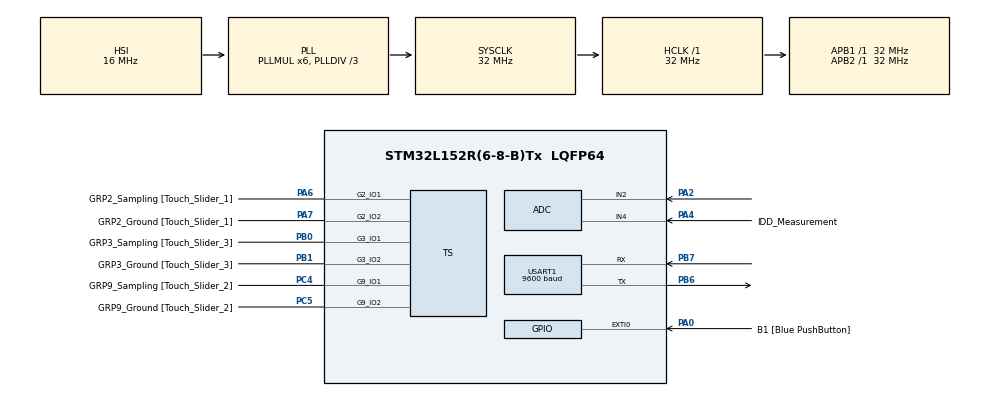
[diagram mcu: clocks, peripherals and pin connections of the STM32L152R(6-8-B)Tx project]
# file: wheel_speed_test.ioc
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ADC.Channel-0\#ChannelRegularConversion=ADC_CHANNEL_4
ADC.Channel-IN4=ADC_CHANNEL_4
ADC.ExternalTrigConv=ADC_EXTERNALTRIGCONV_T2_CC3
ADC.ExternalTrigConvEdge=ADC_EXTERNALTRIGCONVEDGE_RISING
ADC.Rank-0\#ChannelRegularConversion=1
ADC.SamplingTime-0\#ChannelRegularConversion=ADC_SAMPLETIME_4CYCLES
Mcu.Family=STM32L1
Mcu.Name=STM32L152R(6-8-B)Tx
Mcu.Package=LQFP64
NVIC.PriorityGroup=NVIC_PRIORITYGROUP_0
NVIC.USART1_IRQn=true\:0\:0\:false\:false\:true\:true\:true\:true
PA0-WKUP1.GPIO_Label=B1 [Blue PushButton]
PA0-WKUP1.GPIO_ModeDefaultEXTI=GPIO_MODE_EVT_RISING
PA0-WKUP1.GPIO_PuPd=GPIO_NOPULL
PA0-WKUP1.Signal=GPXTI0
PA1.GPIO_Label=SEG0 [GH08172T_SEG0]
PA1.GPIO_Mode=GPIO_MODE_AF_PP
PA1.GPIO_PuPd=GPIO_NOPULL
PA1.GPIO_Speed=GPIO_SPEED_FREQ_LOW
PA1.Signal=LCD_SEG0
PA10.GPIO_Label=COM2 [GH08172T_COM2]
PA10.GPIO_Mode=GPIO_MODE_AF_PP
PA10.GPIO_PuPd=GPIO_NOPULL
PA10.GPIO_Speed=GPIO_SPEED_FREQ_LOW
PA10.Signal=LCD_COM2
PA13.GPIO_Label=SWDIO
PA13.Mode=Serial_Wire
PA13.Signal=SYS_JTMS-SWDIO
PA14.GPIO_Label=SWCLK
PA14.Mode=Serial_Wire
PA14.Signal=SYS_JTCK-SWCLK
PA15.GPIO_Label=SEG12 [GH08172T_SEG12]
PA15.GPIO_Mode=GPIO_MODE_AF_PP
PA15.GPIO_PuPd=GPIO_NOPULL
PA15.GPIO_Speed=GPIO_SPEED_FREQ_LOW
PA15.Signal=LCD_SEG17
PA2.Mode=IN2
PA2.Signal=ADC_IN2
PA3.GPIO_Label=SEG2 [GH08172T_SEG2]
PA3.GPIO_Mode=GPIO_MODE_AF_PP
PA3.GPIO_PuPd=GPIO_NOPULL
PA3.GPIO_Speed=GPIO_SPEED_FREQ_LOW
PA3.Signal=LCD_SEG2
PA4.GPIO_Label=IDD_Measurement
PA4.GPIO_Mode=GPIO_MODE_ANALOG
PA4.GPIO_PuPd=GPIO_NOPULL
PA4.Mode=IN4
PA4.Signal=ADC_IN4
PA6.GPIO_Label=GRP2_Sampling [Touch_Slider_1]
PA6.Mode=G2_IO1-Sampling
PA6.Signal=TS_G2_IO1
PA7.GPIO_Label=GRP2_Ground [Touch_Slider_1]
PA7.Mode=G2_IO2-Channel
PA7.Signal=TS_G2_IO2
PA8.GPIO_Label=COM0 [GH08172T_COM0]
PA8.GPIO_Mode=GPIO_MODE_AF_PP
PA8.GPIO_PuPd=GPIO_NOPULL
PA8.GPIO_Speed=GPIO_SPEED_FREQ_LOW
PA8.Signal=LCD_COM0
PA9.GPIO_Label=COM1 [GH08172T_COM1]
PA9.GPIO_Mode=GPIO_MODE_AF_PP
PA9.GPIO_PuPd=GPIO_NOPULL
PA9.GPIO_Speed=GPIO_SPEED_FREQ_LOW
PA9.Signal=LCD_COM1
PB0.GPIO_Label=GRP3_Sampling [Touch_Slider_3]
PB0.Mode=G3_IO1-Sampling
PB0.Signal=TS_G3_IO1
PB1.GPIO_Label=GRP3_Ground [Touch_Slider_3]
PB1.Mode=G3_IO2-Channel
PB1.Signal=TS_G3_IO2
PB10.GPIO_Label=SEG6 [GH08172T_SEG6]
PB10.GPIO_Mode=GPIO_MODE_AF_PP
PB10.GPIO_PuPd=GPIO_NOPULL
PB10.GPIO_Speed=GPIO_SPEED_FREQ_LOW
PB10.Signal=LCD_SEG10
PB11.GPIO_Label=SEG7 [GH08172T_SEG7]
PB11.GPIO_Mode=GPIO_MODE_AF_PP
PB11.GPIO_PuPd=GPIO_NOPULL
PB11.GPIO_Speed=GPIO_SPEED_FREQ_LOW
PB11.Signal=LCD_SEG11
PB12.GPIO_Label=SEG8 [GH08172T_SEG8]
PB12.GPIO_Mode=GPIO_MODE_AF_PP
PB12.GPIO_PuPd=GPIO_NOPULL
PB12.GPIO_Speed=GPIO_SPEED_FREQ_LOW
PB12.Signal=LCD_SEG12
PB13.GPIO_Label=SEG9 [GH08172T_SEG9]
PB13.GPIO_Mode=GPIO_MODE_AF_PP
PB13.GPIO_PuPd=GPIO_NOPULL
PB13.GPIO_Speed=GPIO_SPEED_FREQ_LOW
PB13.Signal=LCD_SEG13
PB14.GPIO_Label=SEG10 [GH08172T_SEG10]
PB14.GPIO_Mode=GPIO_MODE_AF_PP
PB14.GPIO_PuPd=GPIO_NOPULL
PB14.GPIO_Speed=GPIO_SPEED_FREQ_LOW
PB14.Signal=LCD_SEG14
PB15.GPIO_Label=SEG11 [GH08172T_SEG11]
PB15.GPIO_Mode=GPIO_MODE_AF_PP
PB15.GPIO_PuPd=GPIO_NOPULL
PB15.GPIO_Speed=GPIO_SPEED_FREQ_LOW
PB15.Signal=LCD_SEG15
PB3.GPIO_Label=SEG3 [GH08172T_SEG3]
PB3.GPIO_Mode=GPIO_MODE_AF_PP
PB3.GPIO_PuPd=GPIO_NOPULL
PB3.GPIO_Speed=GPIO_SPEED_FREQ_LOW
PB3.Signal=LCD_SEG7
PB4.GPIO_Label=SEG4 [GH08172T_SEG4]
PB4.GPIO_Mode=GPIO_MODE_AF_PP
PB4.GPIO_PuPd=GPIO_NOPULL
PB4.GPIO_Speed=GPIO_SPEED_FREQ_LOW
PB4.Signal=LCD_SEG8
PB5.GPIO_Label=SEG5 [GH08172T_SEG5]
PB5.GPIO_Mode=GPIO_MODE_AF_PP
PB5.GPIO_PuPd=GPIO_NOPULL
PB5.GPIO_Speed=GPIO_SPEED_FREQ_LOW
PB5.Signal=LCD_SEG9
PB6.Mode=Asynchronous
PB6.Signal=USART1_TX
PB7.Mode=Asynchronous
PB7.Signal=USART1_RX
PB8.GPIO_Label=SEG13 [GH08172T_SEG13]
PB8.GPIO_Mode=GPIO_MODE_AF_PP
PB8.GPIO_PuPd=GPIO_NOPULL
PB8.GPIO_Speed=GPIO_SPEED_FREQ_LOW
PB8.Signal=LCD_SEG16
PB9.GPIO_Label=COM3 [GH08172T_COM3]
PB9.GPIO_Mode=GPIO_MODE_AF_PP
PB9.GPIO_PuPd=GPIO_NOPULL
PB9.GPIO_Speed=GPIO_SPEED_FREQ_LOW
PB9.Signal=LCD_COM3
PC0.GPIO_Label=SEG14 [GH08172T_SEG14]
PC0.GPIO_Mode=GPIO_MODE_AF_PP
PC0.GPIO_PuPd=GPIO_NOPULL
PC0.GPIO_Speed=GPIO_SPEED_FREQ_LOW
PC0.Signal=LCD_SEG18
PC1.GPIO_Label=SEG15 [GH08172T_SEG15]
PC1.GPIO_Mode=GPIO_MODE_AF_PP
PC1.GPIO_PuPd=GPIO_NOPULL
PC1.GPIO_Speed=GPIO_SPEED_FREQ_LOW
PC1.Signal=LCD_SEG19
PC10.GPIO_Label=SEG22 [GH08172T_SEG22]
PC10.GPIO_Mode=GPIO_MODE_AF_PP
PC10.GPIO_PuPd=GPIO_NOPULL
PC10.GPIO_Speed=GPIO_SPEED_FREQ_LOW
PC10.Signal=LCD_SEG28
PC11.GPIO_Label=SEG23 [GH08172T_SEG23]
PC11.GPIO_Mode=GPIO_MODE_AF_PP
PC11.GPIO_PuPd=GPIO_NOPULL
PC11.GPIO_Speed=GPIO_SPEED_FREQ_LOW
PC11.Signal=LCD_SEG29
PC14-OSC32_IN.GPIO_Label=PC14-OSC32_IN
PC14-OSC32_IN.Mode=LSE-External-Oscillator
PC14-OSC32_IN.Signal=RCC_OSC32_IN
PC15-OSC32_OUT.GPIO_Label=PC15-OSC32_OUT
PC15-OSC32_OUT.Mode=LSE-External-Oscillator
PC15-OSC32_OUT.Signal=RCC_OSC32_OUT
PC2.GPIO_Label=SEG16 [GH08172T_SEG16]
PC2.GPIO_Mode=GPIO_MODE_AF_PP
PC2.GPIO_PuPd=GPIO_NOPULL
PC2.GPIO_Speed=GPIO_SPEED_FREQ_LOW
PC2.Signal=LCD_SEG20
PC3.GPIO_Label=SEG17 [GH08172T_SEG17]
PC3.GPIO_Mode=GPIO_MODE_AF_PP
PC3.GPIO_PuPd=GPIO_NOPULL
PC3.GPIO_Speed=GPIO_SPEED_FREQ_LOW
PC3.Signal=LCD_SEG21
PC4.GPIO_Label=GRP9_Sampling [Touch_Slider_2]
PC4.Mode=G9_IO1-Sampling
PC4.Signal=TS_G9_IO1
PC5.GPIO_Label=GRP9_Ground [Touch_Slider_2]
PC5.Mode=G9_IO2-Channel
PC5.Signal=TS_G9_IO2
PC6.GPIO_Label=SEG18 [GH08172T_SEG18]
PC6.GPIO_Mode=GPIO_MODE_AF_PP
PC6.GPIO_PuPd=GPIO_NOPULL
PC6.GPIO_Speed=GPIO_SPEED_FREQ_LOW
PC6.Signal=LCD_SEG24
PC7.GPIO_Label=SEG19 [GH08172T_SEG19]
PC7.GPIO_Mode=GPIO_MODE_AF_PP
PC7.GPIO_PuPd=GPIO_NOPULL
PC7.GPIO_Speed=GPIO_SPEED_FREQ_LOW
PC7.Signal=LCD_SEG25
PC8.GPIO_Label=SEG20 [GH08172T_SEG20]
PC8.GPIO_Mode=GPIO_MODE_AF_PP
PC8.GPIO_PuPd=GPIO_NOPULL
PC8.GPIO_Speed=GPIO_SPEED_FREQ_LOW
PC8.Signal=LCD_SEG26
PC9.GPIO_Label=SEG21 [GH08172T_SEG21]
PC9.GPIO_Mode=GPIO_MODE_AF_PP
PC9.GPIO_PuPd=GPIO_NOPULL
PC9.GPIO_Speed=GPIO_SPEED_FREQ_LOW
PC9.Signal=LCD_SEG27
ProjectManager.HeapSize=0x200
ProjectManager.StackSize=0x400
ProjectManager.TargetToolchain=STM32CubeIDE
RCC.48MHZClocksFreq_Value=48000000
RCC.AHBFreq_Value=32000000
RCC.APB1Freq_Value=32000000
RCC.APB1TimFreq_Value=32000000
RCC.APB2Freq_Value=32000000
RCC.APB2TimFreq_Value=32000000
RCC.HCLKFreq_Value=32000000
RCC.HSE_VALUE=8000000
RCC.HSI_VALUE=16000000
RCC.MSI_VALUE=2097000
RCC.PLLDIV=RCC_PLL_DIV3
RCC.PLLMUL=RCC_PLL_MUL6
RCC.RTCClockSelectionVirtual=RCC_RTCCLKSOURCE_LSE
RCC.SYSCLKFreq_VALUE=32000000
RCC.SYSCLKSource=RCC_SYSCLKSOURCE_PLLCLK
RCC.USBOutput=48000000
RCC.VCOOutputFreq_Value=96000000
USART1.BaudRate=9600
USART1.VirtualMode=VM_ASYNC
VP_TIM2_VS_ClockSourceINT.Mode=Internal
VP_TIM3_VS_ClockSourceINT.Mode=Internal
VP_TIM4_VS_ClockSourceINT.Mode=Internal
board=STM32L-DISCOVERY

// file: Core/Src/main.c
/* USER CODE BEGIN Header */
/**
 ******************************************************************************
 * @file           : main.c
 * @brief          : Main program body
 ******************************************************************************
 * @attention
 *
 * Copyright (c) 2025 STMicroelectronics.
 * All rights reserved.
 *
 * This software is licensed under terms that can be found in the LICENSE file
 * in the root directory of this software component.
 * If no LICENSE file comes with this software, it is provided AS-IS.
 *
 ******************************************************************************
 */
/* USER CODE END Header */
#include "main.h"

/* USER CODE BEGIN Includes */
#include <stdbool.h>
#include <stdio.h>
#include <string.h>
#include <ctype.h>
#include <stdint.h>
#include <stdlib.h>
/* USER CODE END Includes */

ADC_HandleTypeDef hadc;

TIM_HandleTypeDef htim2;
TIM_HandleTypeDef htim3;
TIM_HandleTypeDef htim4;

UART_HandleTypeDef huart1;

/* USER CODE BEGIN PV */
unsigned short MAX_DC;

unsigned short INVERTED_MAX_DC;
unsigned short FIRST_HALVED;
unsigned short SECOND_HALVED;
unsigned short THIRD_HALVED;
unsigned short STOPPED_STATE;

unsigned short DC_RIGHT;
unsigned short DC_LEFT;

unsigned short RELATIVE_INIT_U1;
unsigned short PULSE_TIME_U1;
unsigned short DISTANCE_U1;

unsigned short RELATIVE_INIT_U2;
unsigned short PULSE_TIME_U2;
unsigned short DISTANCE_U2;
unsigned short COUNT;

bool CRITICAL_CLOSE;
bool CLOSE;
bool MEDIUM;
bool RELATIVELY_FAR;

enum direction {
	FORWARD, BACKWARDS, STOPPED
};
enum turn_state {
	CLEAR,
	FIRST_OBSTACLE_BACKWARDS,
	FIRST_OBSTACLE_FORWARD,
	SECOND_OBSTACLE_BACKWARDS,
	SECOND_OBSTACLE_FORWARD,
	DOOMED
};
enum turn_state TURN_POSITION = CLEAR;
enum direction MOVEMENT_DIRECTION = STOPPED;

uint8_t RxData[10];
uint8_t temp[2];
int indx = 0;

uint8_t CRITICAL_CLOSE_DISTANCE = 5;
uint8_t CLOSE_DISTANCE;
uint8_t MEDIUM_DISTANCE;
uint8_t RELATIVELY_FAR_DISTANCE;
bool ROTATING;
bool DISTANCE_MESSAGE_FLAG;
/* USER CODE END PV */

/* Private function prototypes --------b---------------------------------------*/
void SystemClock_Config(void);
static void MX_GPIO_Init(void);
static void MX_ADC_Init(void);
static void MX_TS_Init(void);
static void MX_TIM2_Init(void);
static void MX_TIM3_Init(void);
static void MX_TIM4_Init(void);
static void MX_USART1_UART_Init(void);

/* USER CODE BEGIN 0 */

void setup_log_message(char *text) {
	char message[40];
	sprintf(message, "[%lu] %s setup OK \r\n", HAL_GetTick(), text);
	HAL_UART_Transmit(&huart1, message, strlen(message), 10000);
}

void general_log_message(char *text) {
	char message[100];
	sprintf(message, "[%lu] %s \r\n", HAL_GetTick(), text);
	HAL_UART_Transmit(&huart1, message, strlen(message), 10000);
}

void speed_log_message(void) {
	uint32_t wheel1_speed = TIM2->CCR3;
	uint32_t wheel2_speed = TIM2->CCR4;

	char message[70]; // Larger buffer for the more complex message

	sprintf(message,
			"[%lu] Speed change. DC changed to (%lu) in wheel 1 and (%lu) in wheel 2\r\n",
			HAL_GetTick(), wheel1_speed, wheel2_speed);

	HAL_UART_Transmit(&huart1, message, strlen(message), 10000);
}

void RESET_DISTANCES() {
	DISTANCE_U1 = 0;
	DISTANCE_U2 = 0;
}

void SET_SPEED(unsigned short dc_left, unsigned short dc_right) {
	if (MOVEMENT_DIRECTION != STOPPED) {
		DC_RIGHT = dc_right;
		DC_LEFT = dc_left;
		TIM2->CCR3 = DC_LEFT;
		TIM2->CCR4 = DC_RIGHT;
	}
}

void TURN_BACKWARDS(unsigned short dc_left, unsigned short dc_right) {
	MOVEMENT_DIRECTION = BACKWARDS;

	FIRST_HALVED = MAX_DC / 2;
	SECOND_HALVED = (MAX_DC * 3) / 4;
	THIRD_HALVED = (MAX_DC * 4) / 5;
	STOPPED_STATE = MAX_DC;

	GPIOB->BSRR = (1 << 13);
	GPIOB->BSRR = (1 << 12);
	SET_SPEED(dc_left, dc_right);

}

void STOP(bool change_state) {
	if (MOVEMENT_DIRECTION == FORWARD) {
		SET_SPEED(0, 0);
	} else if (MOVEMENT_DIRECTION == BACKWARDS) {
		SET_SPEED(100, 100);
	}
	if (change_state) {
		MOVEMENT_DIRECTION = STOPPED;
		general_log_message("Stopping...");
	}
}

void TURN_FORWARD(unsigned short dc_left, unsigned short dc_right) {
	MOVEMENT_DIRECTION = FORWARD;

	FIRST_HALVED = MAX_DC / 2;
	SECOND_HALVED = MAX_DC / 4;
	THIRD_HALVED = MAX_DC / 5;
	STOPPED_STATE = 0;

	GPIOB->BSRR = (1 << 13) << 16;
	GPIOB->BSRR = (1 << 12) << 16;
	SET_SPEED(dc_left, dc_right);

}

void TURN_DIRECTION() {
	if (MOVEMENT_DIRECTION == FORWARD) {
		TURN_BACKWARDS(INVERTED_MAX_DC, INVERTED_MAX_DC);
		general_log_message("Turn backwards");

	} else if (MOVEMENT_DIRECTION == BACKWARDS) {
		STOP(true);

	} else if (MOVEMENT_DIRECTION == STOPPED) {
		TURN_FORWARD(MAX_DC, MAX_DC);
		general_log_message("Turn forwards");

	}
}
void SETUP_WHEELS() {

	GPIOB->MODER |= (1 << (11 * 2 + 1));
	GPIOB->MODER &= ~(1 << 11 * 2);
	GPIOB->AFR[1] &= ~(0xF << 12);
	GPIOB->AFR[1] |= (1 << 12);

	GPIOB->MODER |= (1 << (10 * 2 + 1));
	GPIOB->MODER &= ~(1 << (10 * 2));
	GPIOB->AFR[1] &= ~(0xF << 8);
	GPIOB->AFR[1] |= (1 << 8);

	GPIOB->MODER &= ~(1 << (13 * 2 + 1));
	GPIOB->MODER |= (1 << 13 * 2);

	GPIOB->MODER &= ~(1 << (12 * 2 + 1));
	GPIOB->MODER |= (1 << 12 * 2);

	setup_log_message("Wheels");

}
void TURN_90_RIGHT(bool backwards) {
	enum direction temp = MOVEMENT_DIRECTION;
	ROTATING = true;
	TIM4->DIER = 0x000A;

	STOP(true);
	general_log_message("Turning 90 degrees to the Right");
	COUNT = 0;
	while (COUNT != 5) {
	}

	if (backwards) {
		TURN_BACKWARDS(100, 0);
	} else {
		TURN_FORWARD(0, 100);
	}

	COUNT = 0;
	while (COUNT != 7) {
	}

	STOP(true);
	COUNT = 0;
	while (COUNT != 5) {
	}
	TIM4->DIER = 0x0008;
	ROTATING = false;
	if (temp == FORWARD) {
		TURN_FORWARD(MAX_DC, MAX_DC);
	} else if (temp == BACKWARDS) {
		TURN_BACKWARDS(INVERTED_MAX_DC, INVERTED_MAX_DC);
	}
	COUNT = 0;
}

void TURN_90_LEFT(bool backwards) {
	enum direction temp = MOVEMENT_DIRECTION;
	ROTATING = true;

	TIM4->DIER = 0x000A;
	STOP(true);
	general_log_message("Turning 90 degrees to the left");
	while (COUNT != 5) {
	}
	if (backwards) {

		TURN_BACKWARDS(0, 100);
	} else {

		TURN_FORWARD(100, 0);
	}
	COUNT = 0;
	while (COUNT != 7) {
	}
	STOP(true);
	COUNT = 0;
	while (COUNT != 5) {
	}
	TIM4->DIER = 0x0008;
	ROTATING = false;
	if (temp == FORWARD) {
		TURN_FORWARD(MAX_DC, MAX_DC);
	} else if (temp == BACKWARDS) {
		TURN_BACKWARDS(INVERTED_MAX_DC, INVERTED_MAX_DC);
	}

	COUNT = 0;
}
void SETUP_PWM() {

	TIM2->CR1 = 0x0080;
	TIM2->CR2 = 0x0000;
	TIM2->SMCR = 0x0000;
	TIM2->PSC = 32000;
	TIM2->CNT = 0;
	TIM2->ARR = 99;
	TIM2->DIER = 0x0000;
	TIM2->CCMR2 = 0x6868;
	TIM2->CCER = 0x1100;
	TIM2->EGR |= 0x0001;
	TIM2->CR1 |= 0x0001;
	TIM2->SR = 0;

	setup_log_message("PWM");

}

void CYCLE_TURN_POSITION() {
	switch (TURN_POSITION) {
	case CLEAR:
		TURN_POSITION = FIRST_OBSTACLE_BACKWARDS;
		break;
	case FIRST_OBSTACLE_BACKWARDS:
		TURN_POSITION = FIRST_OBSTACLE_FORWARD;
		break;
	case FIRST_OBSTACLE_FORWARD:
		TURN_POSITION = SECOND_OBSTACLE_BACKWARDS;
		break;
	case SECOND_OBSTACLE_BACKWARDS:
		TURN_POSITION = SECOND_OBSTACLE_FORWARD;
		break;
	case SECOND_OBSTACLE_FORWARD:
		TURN_POSITION = DOOMED;
		break;
	default:
		break;
	}
}

void BUZZ() {
	if (CRITICAL_CLOSE) {
		TIM4->CCMR2 = 0x0050;
	} else if (CLOSE && !ROTATING) {
		TIM4->CCMR2 = 0x0030;
		SET_SPEED(THIRD_HALVED, THIRD_HALVED);
	}

	else if (MEDIUM && !ROTATING) {
		TIM4->CCMR2 = 0x0030;
		SET_SPEED(SECOND_HALVED, SECOND_HALVED);
	}

	else if (RELATIVELY_FAR && !ROTATING) {
		TIM4->CCMR2 = 0x0040;

		SET_SPEED(FIRST_HALVED, FIRST_HALVED);
	}

	else {
		if (!ROTATING) {
			TIM4->CCMR2 = 0x0040;
			if (MOVEMENT_DIRECTION == FORWARD) {
				SET_SPEED(MAX_DC, MAX_DC);

			} else if (MOVEMENT_DIRECTION == BACKWARDS) {
				SET_SPEED(INVERTED_MAX_DC, INVERTED_MAX_DC);

			}
		}
	}
	TIM2->EGR |= 0x0001;
}

void MEASSURE() {

	if (((DISTANCE_U1 / 2) <= CRITICAL_CLOSE_DISTANCE && DISTANCE_U1 != 0)
			|| ((DISTANCE_U2 / 2) <= CRITICAL_CLOSE_DISTANCE && DISTANCE_U2 != 0)) {
		if (TURN_POSITION == CLEAR && MOVEMENT_DIRECTION != STOPPED) {
			TURN_POSITION = FIRST_OBSTACLE_BACKWARDS;
		}

		CRITICAL_CLOSE = true;
		CLOSE = false;
		MEDIUM = false;
		RELATIVELY_FAR = false;
	} else if (((DISTANCE_U2 / 2) > CRITICAL_CLOSE_DISTANCE
			&& (DISTANCE_U2 / 2) <= CLOSE_DISTANCE)
			|| ((DISTANCE_U1 / 2) > CRITICAL_CLOSE_DISTANCE
					&& (DISTANCE_U1 / 2) <= CLOSE_DISTANCE)) {
		TURN_POSITION = CLEAR;
		CRITICAL_CLOSE = false;
		CLOSE = true;
		MEDIUM = false;
		RELATIVELY_FAR = false;

	} else if (((DISTANCE_U2 / 2) > CLOSE_DISTANCE
			&& (DISTANCE_U2 / 2) <= MEDIUM_DISTANCE)
			|| ((DISTANCE_U1 / 2) > CLOSE_DISTANCE
					&& (DISTANCE_U1 / 2) <= MEDIUM_DISTANCE)) {
		TURN_POSITION = CLEAR;
		CRITICAL_CLOSE = false;
		CLOSE = false;
		MEDIUM = true;
		RELATIVELY_FAR = false;

	} else if (((DISTANCE_U2 / 2) > MEDIUM_DISTANCE
			&& (DISTANCE_U2 / 2) <= RELATIVELY_FAR_DISTANCE)
			|| ((DISTANCE_U1 / 2) > MEDIUM_DISTANCE
					&& (DISTANCE_U1 / 2) <= RELATIVELY_FAR_DISTANCE)) {
		TURN_POSITION = CLEAR;
		CRITICAL_CLOSE = false;
		CLOSE = false;
		MEDIUM = false;
		RELATIVELY_FAR = true;

	} else {
		TURN_POSITION = CLEAR;
		CRITICAL_CLOSE = false;
		CLOSE = false;
		MEDIUM = false;
		RELATIVELY_FAR = false;
	}

	if (((DISTANCE_U1 / 2) <= 5 && DISTANCE_U1 != 0)
			|| ((DISTANCE_U2 / 2) <= 5 && DISTANCE_U2 != 0)) {
		if (!DISTANCE_MESSAGE_FLAG) {
			char message[70];
			sprintf(message, "WARNING!! OBSTACLE AT A DISTANCE OF LESS THAN 5 cm \r\n");
			general_log_message(message);
			DISTANCE_MESSAGE_FLAG = true;
		}
	} else if (((DISTANCE_U2 / 2) > 27
			&& (DISTANCE_U2 / 2) <= 33)
			|| ((DISTANCE_U1 / 2) > 27
					&& (DISTANCE_U1 / 2) <= 33)) {
		if (!DISTANCE_MESSAGE_FLAG) {
			char message[70];
			sprintf(message, "BE CAREFUL, OBSTACLE IN APPROXIMATELY 30 cm\r\n");
			general_log_message(message);
			DISTANCE_MESSAGE_FLAG = true;
		}
	}
	else{
		DISTANCE_MESSAGE_FLAG=false;
	}

}

void START_COUNTER_3() {
	TIM3->SR = 0;
	TIM3->EGR |= (1 << 0);
	TIM3->CR1 |= 0x0001;
	NVIC->ISER[0] |= (1 << 29);

}

void START_COUNTER_2() {
	TIM4->SR = 0;
	TIM4->CR1 |= 0x0001;
	NVIC->ISER[0] |= (1 << 30);

}

void TIM3_IRQHandler(void) {

	if ((TIM3->SR & (1 << 2)) != 0) {
		if ((GPIOC->IDR & 0x80) != 0) {
			RELATIVE_INIT_U1 = TIM3->CCR2;
		} else {
			PULSE_TIME_U1 = TIM3->CCR2 - RELATIVE_INIT_U1;
			DISTANCE_U1 = 0.034 * PULSE_TIME_U1;
		}

		TIM3->SR &= ~(0x0004);
	}
	if ((TIM3->SR & (1 << 4)) != 0) {
		if ((GPIOC->IDR & 0x200) != 0) {
			RELATIVE_INIT_U2 = TIM3->CCR4;
		} else {
			PULSE_TIME_U2 = TIM3->CCR4 - RELATIVE_INIT_U2;
			DISTANCE_U2 = 0.034 * PULSE_TIME_U2;
		}
		TIM3->SR &= ~(0x0010);
	}
	if ((TIM3->SR & (1 << 1)) != 0) {
		GPIOC->BSRR = (1 << 6) << 16;
		GPIOC->BSRR = (1 << 8) << 16;

		TIM3->SR &= ~(0x0002);
	}
}

void TIM4_IRQHandler(void) {

	if ((TIM4->SR & TIM_SR_CC3IF) && (TIM4->DIER & TIM_DIER_CC3IE)) {
		BUZZ();

		GPIOC->BSRR = (1 << 6);
		GPIOC->BSRR = (1 << 8);

		START_COUNTER_3();
		TIM4->SR &= ~TIM_SR_CC3IF;
	}

	else if ((TIM4->SR & TIM_SR_CC1IF) && (TIM4->DIER & TIM_DIER_CC1IE)) {
		COUNT++;
		TIM4->SR &= ~TIM_SR_CC1IF;
	}

}

void INIT_TIM3() {
	TIM3->CR1 = 0x0000;
	TIM3->CR2 = 0x0000;
	TIM3->SMCR = 0x0000;
	TIM3->ARR = 0xFFFF;
	TIM3->PSC = 31;
	TIM3->CNT = 0;
	TIM3->CCR1 = 11;
	TIM3->CCR3 = 0xFFFF;
	TIM3->DIER = 0x0016;
	TIM3->CCMR1 = 0x0100;
	TIM3->CCMR2 = 0x0100;
	TIM3->CCER = 0xB0B0;

	setup_log_message("TIM3");

}

void INIT_TIM4() {

	TIM4->CR1 = 0x0080;
	TIM4->CR2 = 0x0000;
	TIM4->SMCR = 0x0000;
	TIM4->ARR = 1000;
	TIM4->PSC = 3199;
	TIM4->CNT = 0;
	TIM4->CCR3 = 1000;
	TIM4->CCR1 = 1000;
	TIM4->DIER = 0x0008;
	TIM4->CCMR2 = 0x0000;
	TIM4->CCMR1 = 0x0000;
	TIM4->CCER = 0x0100;

	setup_log_message("TIM4");

}

void INIT_3V_OUTPUT() {
	GPIOB->MODER |= (1 << (8 * 2 + 1));
	GPIOB->MODER &= ~(1 << (8 * 2));

	GPIOB->AFR[1] &= ~(0xF << (0));
	GPIOB->AFR[1] |= (2 << (0));

	setup_log_message("Buzzer output");

}

void INIT_TRIGG_ECHO() {
	GPIOC->MODER &= ~(1 << (2 * 6 + 1));
	GPIOC->MODER |= (1 << (2 * 6));
	GPIOC->MODER |= (1 << (2 * 7 + 1));
	GPIOC->MODER &= ~(1 << (2 * 7));
	GPIOC->AFR[0] &= ~(0xF << (7 * 4));
	GPIOC->AFR[0] |= (2 << (7 * 4));
	GPIOC->MODER &= ~(1 << (2 * 8 + 1));
	GPIOC->MODER |= (1 << (2 * 8));
	GPIOC->MODER |= (1 << (2 * 9 + 1));
	GPIOC->MODER &= ~(1 << (2 * 9));
	GPIOC->AFR[1] &= ~(0xF << (1 * 4));
	GPIOC->AFR[1] |= (2 << (1 * 4));

	setup_log_message("Ultrasonic GPIO");

}

void EXTI0_IRQHandler(void) {
	if (EXTI->PR != 0) {

		char message[70];
		sprintf(message, "[%lu] User button pressed - Direction: %d\r\n",
				HAL_GetTick(), MOVEMENT_DIRECTION);
		HAL_UART_Transmit(&huart1, message, strlen(message), 10000);

		TURN_DIRECTION();

		EXTI->PR = 0x01;
	}
}

void SETUP_USER_BUTTON() {

	GPIOA->MODER &= ~(1 << (0 * 2 + 1));
	GPIOA->MODER &= ~(1 << (0 * 2));

	EXTI->FTSR |= 0x01;
	EXTI->RTSR &= ~(0x01);
	SYSCFG->EXTICR[0] = 0;
	EXTI->IMR |= 0x01;
	NVIC->ISER[0] |= (1 << 6);

	setup_log_message("User Button");

}

void SETUP_ADC() {

	GPIOA->MODER |= 0x00000030;
	ADC1->CR2 &= ~(0x00000001);
	ADC1->CR1 = 0x00000000;
	ADC1->CR2 = 0x00000412;
	ADC1->SQR1 = 0x00000000;
	ADC1->SQR5 = 0x00000002;
	ADC1->CR2 |= 0x00000001;
	while ((ADC1->SR & 0x0040) == 0)
		ADC1->CR2 |= 0x40000000;

	setup_log_message("ADC");

}

void UPDATE_DC() {
	MAX_DC = (ADC1->DR) * 100 / 4096;
	INVERTED_MAX_DC = 100 - MAX_DC;

	if (MOVEMENT_DIRECTION == FORWARD) {
		TURN_FORWARD(MAX_DC, MAX_DC);
	} else if (MOVEMENT_DIRECTION == BACKWARDS) {
		TURN_BACKWARDS(INVERTED_MAX_DC, INVERTED_MAX_DC);
	}

}

void HAL_UART_RxCpltCallback(UART_HandleTypeDef *huart) {
// Process the command
//	TURN_DIRECTION();
	memcpy(RxData + indx, temp, 1);
	if (++indx >= 10)
		indx = 0;
// Reactivate reception for 4 characters
	HAL_UART_Receive_IT(huart, temp, 1);
}

void CHANGE_MIN_DISTANCE(uint8_t new_distance) {
	if (new_distance > 0 && new_distance <= 99) {
		CRITICAL_CLOSE_DISTANCE = new_distance;
	}

	char message[100];
	sprintf(message, "[%lu] Changing new minimun distance to: %d cm \r\n",
			HAL_GetTick(), new_distance);
	HAL_UART_Transmit(&huart1, message, strlen(message), 10000);
}

void CHANGE_MAX_DISTANCE(uint8_t new_distance) {
	if (new_distance > 0 && new_distance <= 99) {
		RELATIVELY_FAR_DISTANCE = new_distance;

		char message[100];
		sprintf(message, "[%lu] Changing new maximum distance to: %d cm \r\n",
				HAL_GetTick(), new_distance);
		HAL_UART_Transmit(&huart1, message, strlen(message), 10000);
	}
}

void EXECUTE_REMOTE_COMMAND() {
	bool isBackward = (MOVEMENT_DIRECTION == FORWARD);

	if (temp[0] == '\n') {

		if (strncmp((char*) RxData, "STOP", 4) == 0) {
			STOP(true);
		} else if (strncmp((char*) RxData, "CYCL", 4) == 0) {
			TURN_DIRECTION();
		} else if (strncmp((char*) RxData, "RIGH", 4) == 0
				&& MOVEMENT_DIRECTION == FORWARD) {
			TURN_90_RIGHT(isBackward);
		} else if (strncmp((char*) RxData, "RIGH", 4) == 0
				&& MOVEMENT_DIRECTION == BACKWARDS) {
			TURN_90_LEFT(isBackward);
		} else if (strncmp((char*) RxData, "LEFT", 4) == 0
				&& MOVEMENT_DIRECTION == FORWARD) {
			TURN_90_LEFT(isBackward);
		} else if (strncmp((char*) RxData, "LEFT", 4) == 0
				&& MOVEMENT_DIRECTION == BACKWARDS) {
			TURN_90_RIGHT(isBackward);
		} else if (strncmp((char*) RxData, "FORW", 4) == 0) {
			TURN_FORWARD(MAX_DC, MAX_DC);
			general_log_message("Going Forward");
		} else if (strncmp((char*) RxData, "BACK", 4) == 0) {
			TURN_BACKWARDS(INVERTED_MAX_DC, INVERTED_MAX_DC);
			general_log_message("Going Backwards");
		} else if (strncmp((char*) RxData, "MD", 2) == 0&& isdigit(RxData[2])
		&& isdigit(RxData[3])) {
			uint8_t new_distance = atoi((char*) &RxData[2]);
			CHANGE_MIN_DISTANCE(new_distance);
		}

		else if (strncmp((char*) RxData, "MA", 2) == 0&& isdigit(RxData[2])
		&& isdigit(RxData[3])) {
			uint8_t new_distance = atoi((char*) &RxData[2]);
			CHANGE_MAX_DISTANCE(new_distance);
		}

		memset(temp, 0, sizeof(temp));
		memset(RxData, 0, sizeof(RxData));
		indx = 0;
	}
}

void INIT_DISTANCES() {
	CLOSE_DISTANCE = CRITICAL_CLOSE + 5;
	MEDIUM_DISTANCE = CRITICAL_CLOSE + 15;
	RELATIVELY_FAR_DISTANCE = CRITICAL_CLOSE + 25;
}

//void receive_string() {
//    uint8_t received_byte;  // Extra byte for NULL terminator
//
//    if (HAL_UART_Receive(&huart1, &received_byte, 1, HAL_MAX_DELAY) == HAL_OK) {
//                HAL_UART_Transmit(&huart1, &received_byte, 1, 100); // Echo the received character
//            }  // Send only valid data
//}
/* USER CODE END 0 */

int main(void) {

	/* MCU Configuration--------------------------------------------------------*/

	/* Reset of all peripherals, Initializes the Flash interface and the Systick. */
	HAL_Init();

	/* Configure the system clock */
	SystemClock_Config();

	/* Initialize all configured peripherals */
	MX_GPIO_Init();
	MX_ADC_Init();
	MX_TS_Init();
	MX_TIM2_Init();
	MX_TIM3_Init();
	MX_TIM4_Init();
	MX_USART1_UART_Init();
	/* USER CODE BEGIN 2 */
	general_log_message("_________ BOARD INIT _________");

	SETUP_ADC();
	UPDATE_DC();
	INIT_DISTANCES();
	INIT_TRIGG_ECHO();
	INIT_3V_OUTPUT();
	INIT_TIM4();
	INIT_TIM3();
	START_COUNTER_2();
	SETUP_WHEELS();

	SETUP_PWM();
	SETUP_USER_BUTTON();
	HAL_UART_Receive_IT(&huart1, temp, 1);
	/* USER CODE END 2 */

	/* Infinite loop */
	/* USER CODE BEGIN WHILE */
	while (1) {
		EXECUTE_REMOTE_COMMAND();
		UPDATE_DC();
		if (CRITICAL_CLOSE) {
			bool isBackward = (MOVEMENT_DIRECTION == FORWARD);
			switch (TURN_POSITION) {
			case FIRST_OBSTACLE_BACKWARDS:
				TURN_90_LEFT(isBackward);
				CYCLE_TURN_POSITION();
				break;

			case FIRST_OBSTACLE_FORWARD:
				TURN_90_LEFT(!isBackward);
				CYCLE_TURN_POSITION();
				break;

			case SECOND_OBSTACLE_BACKWARDS:
				TURN_90_RIGHT(isBackward);
				CYCLE_TURN_POSITION();
				break;

			case SECOND_OBSTACLE_FORWARD:
				TURN_90_RIGHT(!isBackward);
				CYCLE_TURN_POSITION();
				break;

			case DOOMED:
				STOP(true);
				break;

			case CLEAR:
				break;

			default:
				break;
			}
		}

		MEASSURE();

		/* USER CODE END WHILE */

	}
}

void SystemClock_Config(void) {
	RCC_OscInitTypeDef RCC_OscInitStruct = { 0 };
	RCC_ClkInitTypeDef RCC_ClkInitStruct = { 0 };

	/** Configure the main internal regulator output voltage
	 */
	__HAL_PWR_VOLTAGESCALING_CONFIG(PWR_REGULATOR_VOLTAGE_SCALE1);

	/** Initializes the RCC Oscillators according to the specified parameters
	 * in the RCC_OscInitTypeDef structure.
	 */
	RCC_OscInitStruct.OscillatorType = RCC_OSCILLATORTYPE_HSI;
	RCC_OscInitStruct.HSIState = RCC_HSI_ON;
	RCC_OscInitStruct.HSICalibrationValue = RCC_HSICALIBRATION_DEFAULT;
	RCC_OscInitStruct.PLL.PLLState = RCC_PLL_ON;
	RCC_OscInitStruct.PLL.PLLSource = RCC_PLLSOURCE_HSI;
	RCC_OscInitStruct.PLL.PLLMUL = RCC_PLL_MUL6;
	RCC_OscInitStruct.PLL.PLLDIV = RCC_PLL_DIV3;
	if (HAL_RCC_OscConfig(&RCC_OscInitStruct) != HAL_OK) {
		Error_Handler();
	}

	/** Initializes the CPU, AHB and APB buses clocks
	 */
	RCC_ClkInitStruct.ClockType = RCC_CLOCKTYPE_HCLK | RCC_CLOCKTYPE_SYSCLK
			| RCC_CLOCKTYPE_PCLK1 | RCC_CLOCKTYPE_PCLK2;
	RCC_ClkInitStruct.SYSCLKSource = RCC_SYSCLKSOURCE_PLLCLK;
	RCC_ClkInitStruct.AHBCLKDivider = RCC_SYSCLK_DIV1;
	RCC_ClkInitStruct.APB1CLKDivider = RCC_HCLK_DIV1;
	RCC_ClkInitStruct.APB2CLKDivider = RCC_HCLK_DIV1;

	if (HAL_RCC_ClockConfig(&RCC_ClkInitStruct, FLASH_LATENCY_1) != HAL_OK) {
		Error_Handler();
	}
}

static void MX_ADC_Init(void) {

	ADC_ChannelConfTypeDef sConfig = { 0 };

	/** Configure the global features of the ADC (Clock, Resolution, Data Alignment and number of conversion)
	 */
	hadc.Instance = ADC1;
	hadc.Init.ClockPrescaler = ADC_CLOCK_ASYNC_DIV1;
	hadc.Init.Resolution = ADC_RESOLUTION_12B;
	hadc.Init.DataAlign = ADC_DATAALIGN_RIGHT;
	hadc.Init.ScanConvMode = ADC_SCAN_DISABLE;
	hadc.Init.EOCSelection = ADC_EOC_SEQ_CONV;
	hadc.Init.LowPowerAutoWait = ADC_AUTOWAIT_DISABLE;
	hadc.Init.LowPowerAutoPowerOff = ADC_AUTOPOWEROFF_DISABLE;
	hadc.Init.ChannelsBank = ADC_CHANNELS_BANK_A;
	hadc.Init.ContinuousConvMode = DISABLE;
	hadc.Init.NbrOfConversion = 1;
	hadc.Init.DiscontinuousConvMode = DISABLE;
	hadc.Init.ExternalTrigConv = ADC_EXTERNALTRIGCONV_T2_CC3;
	hadc.Init.ExternalTrigConvEdge = ADC_EXTERNALTRIGCONVEDGE_RISING;
	hadc.Init.DMAContinuousRequests = DISABLE;
	if (HAL_ADC_Init(&hadc) != HAL_OK) {
		Error_Handler();
	}

	/** Configure for the selected ADC regular channel its corresponding rank in the sequencer and its sample time.
	 */
	sConfig.Channel = ADC_CHANNEL_4;
	sConfig.Rank = ADC_REGULAR_RANK_1;
	sConfig.SamplingTime = ADC_SAMPLETIME_4CYCLES;
	if (HAL_ADC_ConfigChannel(&hadc, &sConfig) != HAL_OK) {
		Error_Handler();
	}

}

static void MX_TIM2_Init(void) {

	TIM_ClockConfigTypeDef sClockSourceConfig = { 0 };
	TIM_MasterConfigTypeDef sMasterConfig = { 0 };

	htim2.Instance = TIM2;
	htim2.Init.Prescaler = 0;
	htim2.Init.CounterMode = TIM_COUNTERMODE_UP;
	htim2.Init.Period = 65535;
	htim2.Init.ClockDivision = TIM_CLOCKDIVISION_DIV1;
	htim2.Init.AutoReloadPreload = TIM_AUTORELOAD_PRELOAD_DISABLE;
	if (HAL_TIM_Base_Init(&htim2) != HAL_OK) {
		Error_Handler();
	}
	sClockSourceConfig.ClockSource = TIM_CLOCKSOURCE_INTERNAL;
	if (HAL_TIM_ConfigClockSource(&htim2, &sClockSourceConfig) != HAL_OK) {
		Error_Handler();
	}
	sMasterConfig.MasterOutputTrigger = TIM_TRGO_RESET;
	sMasterConfig.MasterSlaveMode = TIM_MASTERSLAVEMODE_DISABLE;
	if (HAL_TIMEx_MasterConfigSynchronization(&htim2, &sMasterConfig)
			!= HAL_OK) {
		Error_Handler();
	}

}

static void MX_TIM3_Init(void) {

	TIM_ClockConfigTypeDef sClockSourceConfig = { 0 };
	TIM_MasterConfigTypeDef sMasterConfig = { 0 };

	htim3.Instance = TIM3;
	htim3.Init.Prescaler = 0;
	htim3.Init.CounterMode = TIM_COUNTERMODE_UP;
	htim3.Init.Period = 65535;
	htim3.Init.ClockDivision = TIM_CLOCKDIVISION_DIV1;
	htim3.Init.AutoReloadPreload = TIM_AUTORELOAD_PRELOAD_DISABLE;
	if (HAL_TIM_Base_Init(&htim3) != HAL_OK) {
		Error_Handler();
	}
	sClockSourceConfig.ClockSource = TIM_CLOCKSOURCE_INTERNAL;
	if (HAL_TIM_ConfigClockSource(&htim3, &sClockSourceConfig) != HAL_OK) {
		Error_Handler();
	}
	sMasterConfig.MasterOutputTrigger = TIM_TRGO_RESET;
	sMasterConfig.MasterSlaveMode = TIM_MASTERSLAVEMODE_DISABLE;
	if (HAL_TIMEx_MasterConfigSynchronization(&htim3, &sMasterConfig)
			!= HAL_OK) {
		Error_Handler();
	}

}

static void MX_TIM4_Init(void) {

	TIM_ClockConfigTypeDef sClockSourceConfig = { 0 };
	TIM_MasterConfigTypeDef sMasterConfig = { 0 };

	htim4.Instance = TIM4;
	htim4.Init.Prescaler = 0;
	htim4.Init.CounterMode = TIM_COUNTERMODE_UP;
	htim4.Init.Period = 65535;
	htim4.Init.ClockDivision = TIM_CLOCKDIVISION_DIV1;
	htim4.Init.AutoReloadPreload = TIM_AUTORELOAD_PRELOAD_DISABLE;
	if (HAL_TIM_Base_Init(&htim4) != HAL_OK) {
		Error_Handler();
	}
	sClockSourceConfig.ClockSource = TIM_CLOCKSOURCE_INTERNAL;
	if (HAL_TIM_ConfigClockSource(&htim4, &sClockSourceConfig) != HAL_OK) {
		Error_Handler();
	}
	sMasterConfig.MasterOutputTrigger = TIM_TRGO_RESET;
	sMasterConfig.MasterSlaveMode = TIM_MASTERSLAVEMODE_DISABLE;
	if (HAL_TIMEx_MasterConfigSynchronization(&htim4, &sMasterConfig)
			!= HAL_OK) {
		Error_Handler();
	}

}

static void MX_TS_Init(void) {

}

static void MX_USART1_UART_Init(void) {

	huart1.Instance = USART1;
	huart1.Init.BaudRate = 9600;
	huart1.Init.WordLength = UART_WORDLENGTH_8B;
	huart1.Init.StopBits = UART_STOPBITS_1;
	huart1.Init.Parity = UART_PARITY_NONE;
	huart1.Init.Mode = UART_MODE_TX_RX;
	huart1.Init.HwFlowCtl = UART_HWCONTROL_NONE;
	huart1.Init.OverSampling = UART_OVERSAMPLING_16;
	if (HAL_UART_Init(&huart1) != HAL_OK) {
		Error_Handler();
	}

}

static void MX_GPIO_Init(void) {
	GPIO_InitTypeDef GPIO_InitStruct = { 0 };

	/* GPIO Ports Clock Enable */
	__HAL_RCC_GPIOC_CLK_ENABLE();
	__HAL_RCC_GPIOA_CLK_ENABLE();
	__HAL_RCC_GPIOB_CLK_ENABLE();

	/*Configure GPIO pins : SEG14_Pin SEG15_Pin SEG16_Pin SEG17_Pin
	 SEG18_Pin SEG19_Pin SEG20_Pin SEG21_Pin
	 SEG22_Pin SEG23_Pin */
	GPIO_InitStruct.Pin = SEG14_Pin | SEG15_Pin | SEG16_Pin | SEG17_Pin
			| SEG18_Pin | SEG19_Pin | SEG20_Pin | SEG21_Pin | SEG22_Pin
			| SEG23_Pin;
	GPIO_InitStruct.Mode = GPIO_MODE_AF_PP;
	GPIO_InitStruct.Pull = GPIO_NOPULL;
	GPIO_InitStruct.Speed = GPIO_SPEED_FREQ_LOW;
	GPIO_InitStruct.Alternate = GPIO_AF11_LCD;
	HAL_GPIO_Init(GPIOC, &GPIO_InitStruct);

	/*Configure GPIO pin : B1_Pin */
	GPIO_InitStruct.Pin = B1_Pin;
	GPIO_InitStruct.Mode = GPIO_MODE_EVT_RISING;
	GPIO_InitStruct.Pull = GPIO_NOPULL;
	HAL_GPIO_Init(B1_GPIO_Port, &GPIO_InitStruct);

	/*Configure GPIO pins : SEG0_Pin SEG2_Pin COM0_Pin COM1_Pin
	 COM2_Pin SEG12_Pin */
	GPIO_InitStruct.Pin = SEG0_Pin | SEG2_Pin | COM0_Pin | COM1_Pin | COM2_Pin
			| SEG12_Pin;
	GPIO_InitStruct.Mode = GPIO_MODE_AF_PP;
	GPIO_InitStruct.Pull = GPIO_NOPULL;
	GPIO_InitStruct.Speed = GPIO_SPEED_FREQ_LOW;
	GPIO_InitStruct.Alternate = GPIO_AF11_LCD;
	HAL_GPIO_Init(GPIOA, &GPIO_InitStruct);

	/*Configure GPIO pins : SEG6_Pin SEG7_Pin SEG8_Pin SEG9_Pin
	 SEG10_Pin SEG11_Pin SEG3_Pin SEG4_Pin
	 SEG5_Pin SEG13_Pin COM3_Pin */
	GPIO_InitStruct.Pin = SEG6_Pin | SEG7_Pin | SEG8_Pin | SEG9_Pin | SEG10_Pin
			| SEG11_Pin | SEG3_Pin | SEG4_Pin | SEG5_Pin | SEG13_Pin | COM3_Pin;
	GPIO_InitStruct.Mode = GPIO_MODE_AF_PP;
	GPIO_InitStruct.Pull = GPIO_NOPULL;
	GPIO_InitStruct.Speed = GPIO_SPEED_FREQ_LOW;
	GPIO_InitStruct.Alternate = GPIO_AF11_LCD;
	HAL_GPIO_Init(GPIOB, &GPIO_InitStruct);

}

void Error_Handler(void) {
	__disable_irq();
	while (1) {
	}
}
